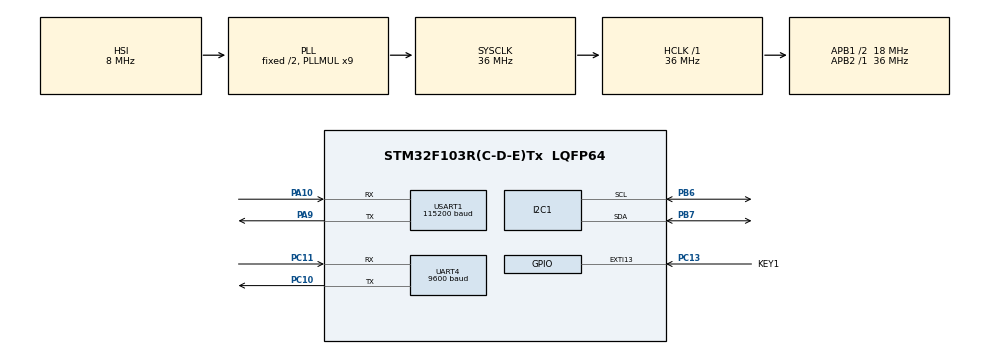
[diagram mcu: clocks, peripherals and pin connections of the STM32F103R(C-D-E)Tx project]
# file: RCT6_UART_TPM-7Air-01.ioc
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Mcu.Family=STM32F1
Mcu.Name=STM32F103R(C-D-E)Tx
Mcu.Package=LQFP64
NVIC.EXTI15_10_IRQn=true\:0\:0\:false\:false\:true\:true\:true
NVIC.PriorityGroup=NVIC_PRIORITYGROUP_4
PA10.Mode=Asynchronous
PA10.Signal=USART1_RX
PA13.Mode=Serial_Wire
PA13.Signal=SYS_JTMS-SWDIO
PA14.Mode=Serial_Wire
PA14.Signal=SYS_JTCK-SWCLK
PA9.Mode=Asynchronous
PA9.Signal=USART1_TX
PB6.Mode=I2C
PB6.Signal=I2C1_SCL
PB7.Mode=I2C
PB7.Signal=I2C1_SDA
PC10.Mode=Asynchronous
PC10.Signal=UART4_TX
PC11.Mode=Asynchronous
PC11.Signal=UART4_RX
PC13-TAMPER-RTC.GPIO_Label=KEY1
PC13-TAMPER-RTC.GPIO_ModeDefaultEXTI=GPIO_MODE_IT_RISING
PC13-TAMPER-RTC.GPIO_PuPd=GPIO_PULLUP
PC13-TAMPER-RTC.Signal=GPXTI13
PC14-OSC32_IN.Mode=LSE-External-Clock-Source
PC14-OSC32_IN.Signal=RCC_OSC32_IN
PC15-OSC32_OUT.Mode=LSE-External-Clock-Source
PC15-OSC32_OUT.Signal=RCC_OSC32_OUT
PD0-OSC_IN.Mode=HSE-External-Clock-Source
PD0-OSC_IN.Signal=RCC_OSC_IN
PD1-OSC_OUT.Mode=HSE-External-Clock-Source
PD1-OSC_OUT.Signal=RCC_OSC_OUT
ProjectManager.HeapSize=0x200
ProjectManager.StackSize=0x400
ProjectManager.TargetToolchain=MDK-ARM V5.27
RCC.AHBFreq_Value=36000000
RCC.APB1CLKDivider=RCC_HCLK_DIV2
RCC.APB1Freq_Value=18000000
RCC.APB1TimFreq_Value=36000000
RCC.APB2Freq_Value=36000000
RCC.APB2TimFreq_Value=36000000
RCC.HCLKFreq_Value=36000000
RCC.PLLMUL=RCC_PLL_MUL9
RCC.SYSCLKFreq_VALUE=36000000
RCC.SYSCLKSource=RCC_SYSCLKSOURCE_PLLCLK
RCC.USBFreq_Value=36000000
UART4.BaudRate=9600
UART4.VirtualMode=Asynchronous
USART1.BaudRate=115200
USART1.VirtualMode=VM_ASYNC
board=custom

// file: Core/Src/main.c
/* USER CODE BEGIN Header */
/**
  ******************************************************************************
  * @file           : main.c
  * @brief          : Main program body
  ******************************************************************************
  * @attention
  *
  * <h2><center>&copy; Copyright (c) 2021 STMicroelectronics.
  * All rights reserved.</center></h2>
  *
  * This software component is licensed by ST under BSD 3-Clause license,
  * the "License"; You may not use this file except in compliance with the
  * License. You may obtain a copy of the License at:
  *                        opensource.org/licenses/BSD-3-Clause
  *
  ******************************************************************************
  */
/* USER CODE END Header */
#include "main.h"
#include "i2c.h"
#include "usart.h"
#include "gpio.h"

/* USER CODE BEGIN Includes */
#include "oled.h"
#include "TPM_7air.h"
#include <stdio.h>
/* USER CODE END Includes */

/* USER CODE BEGIN PTD */
char Temper[16];
int  oled_pagenum = 0;
/* USER CODE END PTD */

void SystemClock_Config(void);

/* USER CODE BEGIN 0 */
void oled_page0()
{
	sprintf(Temper, "CO2:%d ppm", uart_tmp_7air.CO2_DATA);
	OLED_ShowString(0, 0, Temper);
	sprintf(Temper, "CH20:%d ug/m3", uart_tmp_7air.CH20_DATA);
	OLED_ShowString(0, 2, Temper);
	sprintf(Temper, "TVOC:%d ug/m3", uart_tmp_7air.TVOC_DATA);
	OLED_ShowString(0, 4, Temper);
	sprintf(Temper, "PM2.5:%d ug/m3", uart_tmp_7air.PM25_DATA);
	OLED_ShowString(0, 6, Temper);
}
void oled_page1()
{
	sprintf(Temper, "PM10:%d ug/m3", uart_tmp_7air.PM10_DATA);
	OLED_ShowString(0, 0, Temper);
	sprintf(Temper, "T:%d.%d `C", uart_tmp_7air.Temperature0_DATA, uart_tmp_7air.Temperature1_DATA);
	OLED_ShowString(0, 2, Temper);
	sprintf(Temper, "H:%d.%d %%", uart_tmp_7air.Humidity0_DATA, uart_tmp_7air.Humidity1_DATA);
	OLED_ShowString(0, 4, Temper);
}
void HAL_GPIO_EXTI_Callback(uint16_t GPIO_Pin)
{

	if(GPIO_Pin==GPIO_PIN_13)
	{

			oled_pagenum = ~oled_pagenum;
			OLED_Clear();

	}

}

/* USER CODE END 0 */

int main(void)
{

  /* MCU Configuration--------------------------------------------------------*/

  /* Reset of all peripherals, Initializes the Flash interface and the Systick. */
  HAL_Init();

  /* Configure the system clock */
  SystemClock_Config();

  /* Initialize all configured peripherals */
  MX_GPIO_Init();
  MX_I2C1_Init();
  MX_UART4_Init();
  MX_USART1_UART_Init();
  /* USER CODE BEGIN 2 */
	OLED_Init();
  /* USER CODE END 2 */

  /* Infinite loop */
	while (1)
	{

    /* USER CODE BEGIN 3 */
		tpm_receive_count();
		if (oled_pagenum == 0)oled_page0();
		else oled_page1();

	}
	return 0;
  /* USER CODE END 3 */
}

void SystemClock_Config(void)
{
  RCC_OscInitTypeDef RCC_OscInitStruct = {0};
  RCC_ClkInitTypeDef RCC_ClkInitStruct = {0};

  /** Initializes the RCC Oscillators according to the specified parameters
  * in the RCC_OscInitTypeDef structure.
  */
  RCC_OscInitStruct.OscillatorType = RCC_OSCILLATORTYPE_HSI;
  RCC_OscInitStruct.HSIState = RCC_HSI_ON;
  RCC_OscInitStruct.HSICalibrationValue = RCC_HSICALIBRATION_DEFAULT;
  RCC_OscInitStruct.PLL.PLLState = RCC_PLL_ON;
  RCC_OscInitStruct.PLL.PLLSource = RCC_PLLSOURCE_HSI_DIV2;
  RCC_OscInitStruct.PLL.PLLMUL = RCC_PLL_MUL9;
  if (HAL_RCC_OscConfig(&RCC_OscInitStruct) != HAL_OK)
  {
    Error_Handler();
  }
  /** Initializes the CPU, AHB and APB buses clocks
  */
  RCC_ClkInitStruct.ClockType = RCC_CLOCKTYPE_HCLK|RCC_CLOCKTYPE_SYSCLK
                              |RCC_CLOCKTYPE_PCLK1|RCC_CLOCKTYPE_PCLK2;
  RCC_ClkInitStruct.SYSCLKSource = RCC_SYSCLKSOURCE_PLLCLK;
  RCC_ClkInitStruct.AHBCLKDivider = RCC_SYSCLK_DIV1;
  RCC_ClkInitStruct.APB1CLKDivider = RCC_HCLK_DIV2;
  RCC_ClkInitStruct.APB2CLKDivider = RCC_HCLK_DIV1;

  if (HAL_RCC_ClockConfig(&RCC_ClkInitStruct, FLASH_LATENCY_1) != HAL_OK)
  {
    Error_Handler();
  }
}

void Error_Handler(void)
{
	__disable_irq();
	while (1)
	{
	}
}

/************************ (C) COPYRIGHT STMicroelectronics *****END OF FILE****/
